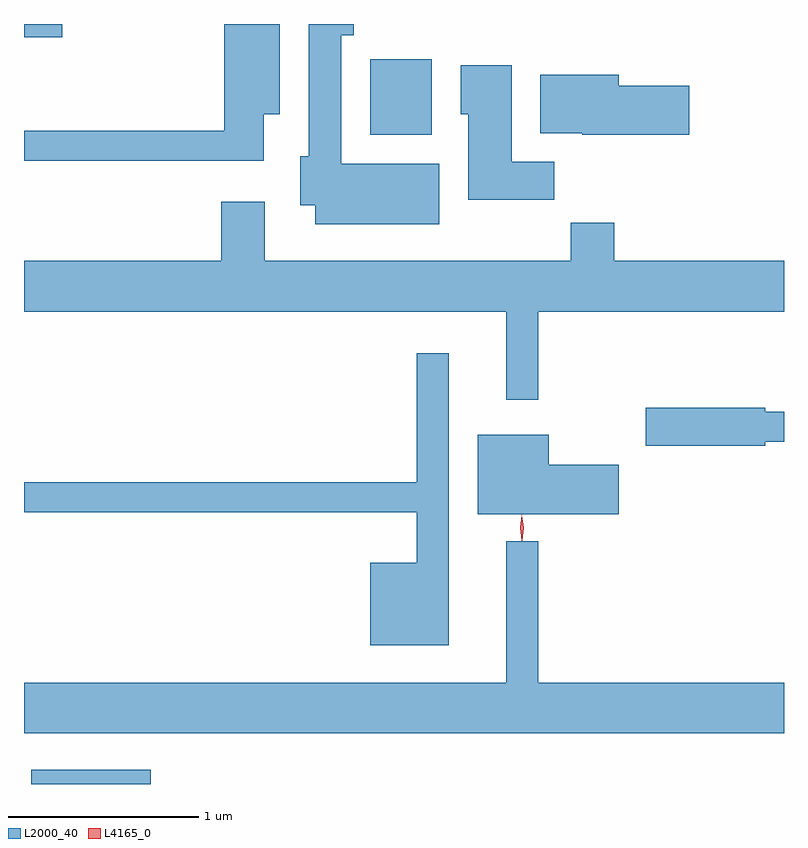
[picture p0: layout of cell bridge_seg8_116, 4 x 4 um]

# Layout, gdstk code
import gdstk
lib = gdstk.Library(unit=1e-6, precision=1e-09)
def R(c, l, rs):  # rectangles x0, y0, x1, y1
    for r in rs: c.add(gdstk.rectangle(r[:2], r[2:], *l))
def P(c, l, *ps):  # polygons
    for p in ps: c.add(gdstk.Polygon(p, *l))
L2000_40 = (2000, 40)
L4165_0 = (4165, 0)

bridge_seg8_116 = lib.new_cell('bridge_seg8_116')
R(bridge_seg8_116, L2000_40, [(1724.591,1865.01,1725.219,1865.084), (1726.376,1868.426,1726.699,1868.824), (1724.553,1868.941,1724.754,1869.01)])
P(bridge_seg8_116, L2000_40, [(1725.814,1868.536),(1725.899,1868.536),(1725.899,1869.01),(1725.606,1869.01),(1725.606,1868.449),(1724.553,1868.449),(1724.553,1868.291),(1725.814,1868.291)],
  [(1726.739,1868.274),(1726.224,1868.274),(1726.224,1868.951),(1726.288,1868.951),(1726.288,1869.01),(1726.051,1869.01),(1726.051,1868.314),(1726.006,1868.314),(1726.006,1868.056),(1726.086,1868.056),(1726.086,1867.956),(1726.739,1867.956)],
  [(1727.344,1868.284),(1727.119,1868.284),(1727.119,1868.794),(1726.851,1868.794),(1726.851,1868.536),(1726.891,1868.536),(1726.891,1868.086),(1727.344,1868.086)],
  [(1728.054,1868.684),(1727.684,1868.684),(1727.684,1868.744),(1727.271,1868.744),(1727.271,1868.436),(1727.49,1868.436),(1727.49,1868.426),(1728.054,1868.426)],
  [(1727.259,1867.496),(1728.553,1867.496),(1728.553,1867.764),(1727.659,1867.764),(1727.659,1867.964),(1727.431,1867.964),(1727.431,1867.764),(1725.819,1867.764),(1725.819,1868.074),(1725.591,1868.074),(1725.591,1867.764),(1724.553,1867.764),(1724.553,1867.496),(1727.091,1867.496),(1727.091,1867.033),(1727.259,1867.033)],
  [(1726.789,1867.278),(1726.621,1867.278),(1726.621,1866.599),(1724.553,1866.599),(1724.553,1866.441),(1726.621,1866.441),(1726.621,1866.174),(1726.376,1866.174),(1726.376,1865.741),(1726.789,1865.741)],
  [(1728.454,1866.811),(1728.553,1866.811),(1728.553,1866.969),(1728.454,1866.969),(1728.454,1866.989),(1727.826,1866.989),(1727.826,1866.791),(1728.454,1866.791)],
  [(1727.684,1866.689),(1727.314,1866.689),(1727.314,1866.849),(1726.941,1866.849),(1726.941,1866.431),(1727.684,1866.431)],
  [(1728.553,1865.544),(1727.259,1865.544),(1727.259,1866.288),(1727.091,1866.288),(1727.091,1865.544),(1724.553,1865.544),(1724.553,1865.276),(1728.553,1865.276)])
P(bridge_seg8_116, L4165_0, [(1727.174,1866.293),(1727.174,1866.294),(1727.164,1866.356),(1727.174,1866.419),(1727.174,1866.42),(1727.174,1866.419),(1727.184,1866.357),(1727.175,1866.294)],
  [(1727.174,1866.29),(1727.164,1866.358),(1727.173,1866.425),(1727.174,1866.426),(1727.174,1866.425),(1727.184,1866.358),(1727.175,1866.29),(1727.175,1866.29)])

lib.write_gds('bridge_seg8_116.gds')
